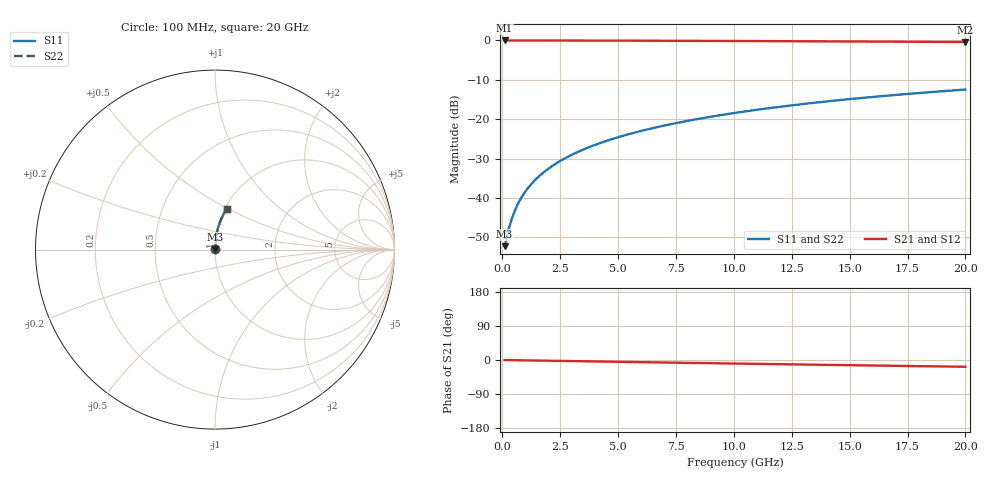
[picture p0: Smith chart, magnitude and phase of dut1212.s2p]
! Touchstone file exported from HFSS 2024.1.0
!  File:  C:/UserFiles/LocalFiles/RDL_TSV_Batchsim/temp_RDL_bottom_1212_1780243747.aedt
!  Generated:  12:11:37 AM Jun  1, 2026
!  Design:  RDL_bottom
!  Project:  temp_RDL_bottom_1212_1780243747
!  Setup:  Setup1
!  Solution:  Sweep
! Variables:
!  dtsv = 10.80580581um
!  hbump = 3um
!  htsv = 89.34um
!  ldown = 173.22um
!  lrdl = 100um
!  p = 40
!  p1 = 53.1um
!  rhole = 1um
!  t = 450um
!  tdown = 2.35um
!  trdl = 3.915915916um
!  wdown = 14.23um
!  wrdl = 20um
# GHz S MA R 50.000000
! Terminal data exported
! Port[1] = RDL1_T1
! Port[2] = RDL1_T2
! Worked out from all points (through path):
!   200 points, 100 MHz to 20 GHz, reference 50 ohm
!   highest |S21| = -0.02 dB at 100 MHz (marker M1); lowest = -0.4 dB at 20 GHz (marker M2)
!   group delay of S21, straight-line fit = 2.48 ps
!   lowest |S11| = -52.3 dB at 100 MHz (marker M3), VSWR 1.00, Z = 50.2 + j0.122 ohm
!   |S11| at or under -10 dB: start of sweep to end of sweep
!   |S22| runs from -52.3 to -12.5 dB; largest |S21 - S12| = 3.1e-15
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0.1  0.00244 29.9  0.9979 -0.1  0.9979 -0.1  0.00244 29.9
! Gamma 0 0 0 0
! Port Impedance 50 0 50 0
0.3  0.004228 59.1  0.9978 -0.3  0.9978 -0.3  0.004228 59.1
0.4  0.005305 65.4  0.9978 -0.4  0.9978 -0.4  0.005305 65.4
0.5  0.006416 69.4  0.9977 -0.5  0.9977 -0.5  0.006416 69.4
0.6  0.007542 72.2  0.9977 -0.6  0.9977 -0.6  0.007542 72.2
0.8  0.009813 75.9  0.9975 -0.8  0.9975 -0.8  0.009813 75.9
1.1  0.01324 79.0  0.9974 -1.1  0.9974 -1.1  0.01324 79.0
1.3  0.01553 80.4  0.9972 -1.3  0.9972 -1.3  0.01553 80.4
1.5  0.01783 81.4  0.9971 -1.5  0.9971 -1.5  0.01783 81.4
1.8  0.02129 82.4  0.9969 -1.8  0.9969 -1.8  0.02129 82.4
2.1  0.02477 83.2  0.9966 -2.0  0.9966 -2.0  0.02477 83.2
2.7  0.03175 84.1  0.9961 -2.6  0.9961 -2.6  0.03175 84.1
3.5  0.04114 84.6  0.9952 -3.4  0.9952 -3.4  0.04114 84.6
4.2  0.04942 84.8  0.9942 -4.0  0.9942 -4.0  0.04942 84.8
5  0.05894 84.8  0.993 -4.8  0.993 -4.8  0.05894 84.8
5.9  0.06973 84.5  0.9914 -5.6  0.9914 -5.6  0.06973 84.5
6.8  0.08058 84.1  0.9897 -6.5  0.9897 -6.5  0.08058 84.1
8.3  0.09878 83.3  0.9865 -7.8  0.9865 -7.8  0.09878 83.3
10.1  0.1207 82.0  0.9823 -9.4  0.9823 -9.4  0.1207 82.0
13.4  0.1606 79.4  0.9736 -12.3  0.9736 -12.3  0.1606 79.4
16.7  0.1997 76.6  0.964 -15.1  0.964 -15.1  0.1997 76.6
20  0.2375 73.8  0.9535 -17.9  0.9535 -17.9  0.2375 73.8
